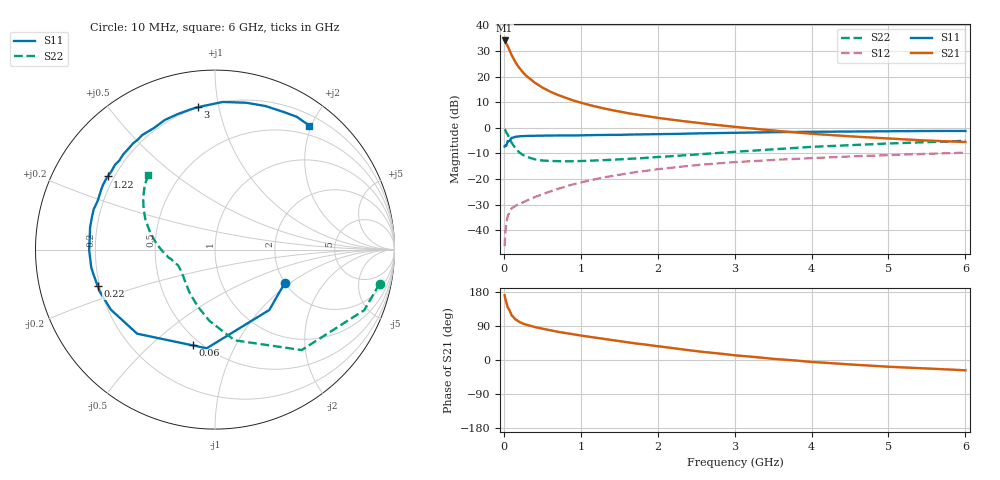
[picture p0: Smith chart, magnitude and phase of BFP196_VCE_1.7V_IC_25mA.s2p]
! Infineon Technologies  Discrete & RF Semiconductors
! BFP196
! VCE = 1.7 V,  IC =  25mA
! Common Emitter S-Parameters:  Jan 2016
# GHz  S  MA  R  50
!  f  S11  S21  S12  S22
! GHz  MAG  ANG  MAG  ANG  MAG  ANG  MAG  ANG
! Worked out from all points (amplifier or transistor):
!   210 points, 10 MHz to 6 GHz, reference 50 ohm
!   highest |S21| = 34.1 dB at 10 MHz (marker M1)
!   |S21| within 3 dB of that: start of sweep to 62.37 MHz
!   unconditionally stable (mu >= 1): 580.1 MHz to 4.416 GHz
!   at 185 MHz: K = 0.55, MSG = 27.0 dB, |S12| = -30.0 dB
!   at 1.52 GHz: K = 1.11, MAG = 10.2 dB, |S12| = -18.2 dB
!   at 6 GHz: K = 0.98, MSG = 2.1 dB, |S12| = -9.7 dB
!   S11 on the Smith chart (normalised r, x): 10 MHz: 1.99, -0.91; 60 MHz: 0.45, -0.69; 220 MHz: 0.19, -0.15; 1.22 GHz: 0.18, +0.30; 3 GHz: 0.20, +0.87; 6 GHz: 0.35, +1.96
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0.01  0.4307 -25.8  50.63 170.8  0.0049 82.1  0.9367 -11.7
0.02  0.4524 -48.0  48.02 160.7  0.0093 76.1  0.8973 -22.1
0.05  0.5519 -94.8  39.39 138.9  0.0189 57.4  0.7393 -49.2
0.06  0.5478 -103.1  36.51 135.9  0.0203 54.1  0.684 -53.4
0.1  0.6385 -132.8  26.46 118.1  0.0266 44.8  0.5171 -77.8
0.15  0.67 -150.1  19.03 107.2  0.03 41.9  0.3984 -94.5
0.2  0.6837 -160.1  14.79 100.5  0.0325 41.8  0.3326 -106.5
0.22  0.6846 -162.8  13.63 98.9  0.0336 42.6  0.3158 -110.0
0.26  0.6899 -167.8  11.54 95.2  0.0359 44.0  0.2886 -117.3
0.3  0.6967 -171.8  10.04 92.4  0.0382 45.4  0.2715 -122.7
0.4  0.7012 -179.8  7.627 87.1  0.0443 49.0  0.2436 -133.2
0.5  0.7006 175.1  6.107 82.6  0.0501 51.8  0.2305 -140.4
0.6  0.7069 169.9  5.101 78.4  0.0571 53.5  0.2253 -145.5
0.7  0.7092 165.2  4.392 74.4  0.064 54.7  0.2231 -149.4
1.02  0.7154 152.8  3.033 64.0  0.087 55.3  0.225 -157.4
1.22  0.7236 145.7  2.544 57.9  0.1017 54.5  0.2317 -160.9
2.02  0.756 121.8  1.551 35.9  0.1568 46.1  0.2697 -172.8
3  0.7993 96.9  1.044 12.4  0.2137 33.4  0.3398 171.7
3.1  0.8022 94.9  1.01 10.8  0.218 32.0  0.3475 169.9
4.1  0.8375 76.6  0.747 -6.3  0.2602 19.8  0.4312 154.9
5.1  0.8576 63.1  0.607 -18.7  0.2968 8.8  0.5004 142.8
6  0.8679 52.8  0.528 -27.2  0.3272 -1.3  0.5574 132.2
